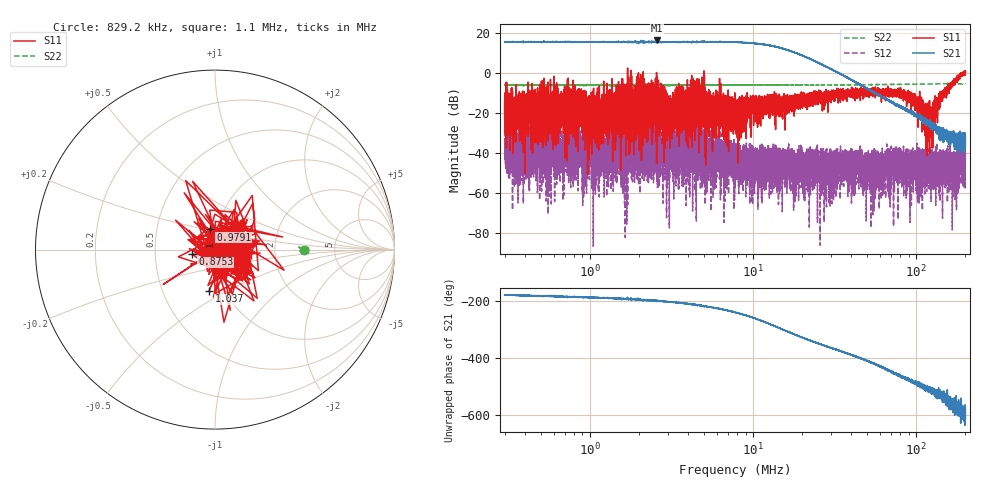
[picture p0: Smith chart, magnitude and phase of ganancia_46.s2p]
# Hz S DB R 50
! CMT, M5065, 19127446, 24.2.4/2
! Date: 11/1/2024 3:40:28 PM
! Data: Format (Calibration Info)
! Freq	S11:dB/Ang(F2)	S21:dB/Ang(F2)	S12:dB/Ang(F2)	S22:dB/Ang(F2)
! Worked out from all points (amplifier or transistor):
!   9000 points, 300 kHz to 200 MHz, reference 50 ohm
!   highest |S21| = 16.3 dB at 2.561 MHz (marker M1)
!   |S21| within 3 dB of that: start of sweep to 13.45 MHz (the widest 1 of 7)
!   unconditionally stable (mu >= 1): 5.028 MHz to 188.5 MHz; 188.7 MHz to 190.9 MHz; 191.6 MHz to 193.2 MHz (the widest 3 of 63)
!   at 886.8 kHz: K = 4.57, MAG = 16.8 dB, |S12| = -37.3 dB
!   at 7.749 MHz: K = 6.16, MAG = 16.9 dB, |S12| = -40.1 dB
!   at 200 MHz: K = -229.37, MSG = 3.4 dB, |S12| = -43.3 dB
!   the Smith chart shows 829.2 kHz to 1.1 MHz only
!   S11 on the Smith chart (normalised r, x): 829.2 kHz: 1.24, +0.32; 875.3 kHz: 0.78, -0.04; 979.1 kHz: 0.93, +0.21; 1.037 MHz: 0.84, -0.41; 1.1 MHz: 1.45, -0.07
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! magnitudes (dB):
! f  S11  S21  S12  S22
! 300 kHz  -23.5  15.6  -35.3  -5.9
! 312.4 kHz  -18.7  15.6  -42.6  -6.0
! 354.8 kHz  -15.7  15.5  -53.6  -6.0
! 829.2 kHz  -15.0  15.4  -41.9  -6.1
! 875.3 kHz  -17.8  15.6  -39.2  -6.1
! 886.8 kHz  -17.6  15.4  -37.3  -6.1
! 979.1 kHz  -18.8  15.5  -33.0  -6.1
! 1.037 MHz  -12.6  15.6  -41.2  -6.1
! 1.1 MHz  -14.5  15.4  -38.6  -6.0
! 2.561 MHz  0.2  16.3  -28.4  -5.8
! 2.621 MHz  -16.5  15.4  -38.2  -6.1
! 4.331 MHz  -15.1  15.6  -47.1  -6.0
! 4.987 MHz  -25.3  15.5  -43.7  -6.0
! 7.749 MHz  -14.4  15.4  -40.1  -6.0
! 13.44 MHz  -14.2  13.4  -44.1  -6.0
! 22.91 MHz  -11.5  6.7  -46.8  -6.0
! 67.71 MHz  -10.0  -14.1  -41.3  -5.7
! 96.33 MHz  -14.6  -19.5  -43.8  -5.6
! 122.2 MHz  -18.8  -25.8  -40.6  -5.4
! 144.5 MHz  -11.9  -30.6  -46.3  -5.3
! 167.3 MHz  -5.4  -34.4  -44.8  -5.3
! 200 MHz  0.3  -36.5  -43.3  -5.4
